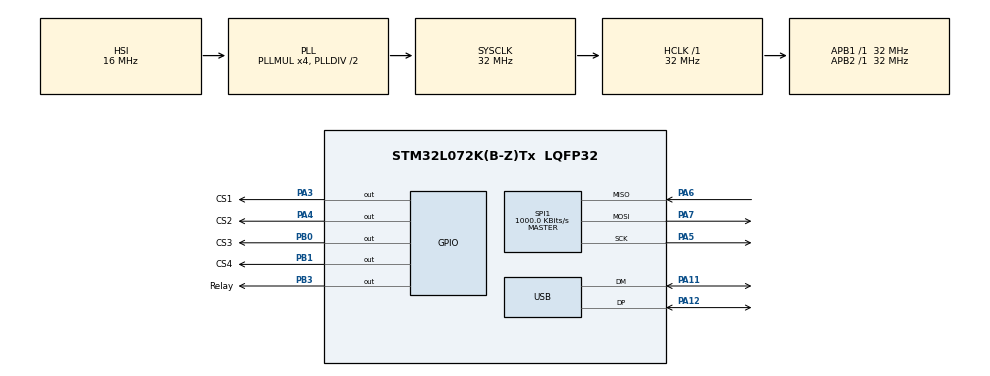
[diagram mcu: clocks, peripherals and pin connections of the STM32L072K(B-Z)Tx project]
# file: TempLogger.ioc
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Mcu.Family=STM32L0
Mcu.Name=STM32L072K(B-Z)Tx
Mcu.Package=LQFP32
NVIC.TIM2_IRQn=true\:0\:0\:false\:false\:true\:true\:true\:true
NVIC.USB_IRQn=true\:0\:0\:false\:false\:true\:false\:true\:true
PA11.Mode=Device
PA11.Signal=USB_DM
PA12.Mode=Device
PA12.Signal=USB_DP
PA13.Mode=Serial_Wire
PA13.Signal=SYS_SWDIO
PA14.Mode=Serial_Wire
PA14.Signal=SYS_SWCLK
PA3.GPIO_Label=CS1
PA3.PinState=GPIO_PIN_SET
PA3.Signal=GPIO_Output
PA4.GPIO_Label=CS2
PA4.PinState=GPIO_PIN_SET
PA4.Signal=GPIO_Output
PA5.Mode=Full_Duplex_Master
PA5.Signal=SPI1_SCK
PA6.Mode=Full_Duplex_Master
PA6.Signal=SPI1_MISO
PA7.Mode=Full_Duplex_Master
PA7.Signal=SPI1_MOSI
PB0.GPIO_Label=CS3
PB0.PinState=GPIO_PIN_SET
PB0.Signal=GPIO_Output
PB1.GPIO_Label=CS4
PB1.PinState=GPIO_PIN_SET
PB1.Signal=GPIO_Output
PB3.GPIO_Label=Relay
PB3.Signal=GPIO_Output
ProjectManager.HeapSize=0x200
ProjectManager.StackSize=0x400
ProjectManager.TargetToolchain=STM32CubeIDE
RCC.AHBFreq_Value=32000000
RCC.APB1Freq_Value=32000000
RCC.APB1TimFreq_Value=32000000
RCC.APB2Freq_Value=32000000
RCC.APB2TimFreq_Value=32000000
RCC.HCLKFreq_Value=32000000
RCC.HSI16_VALUE=16000000
RCC.HSI48MClockSelection=RCC_USBCLKSOURCE_HSI48
RCC.HSI48_VALUE=48000000
RCC.HSI_VALUE=16000000
RCC.LSE_VALUE=32768
RCC.MSI_VALUE=2097000
RCC.PLLMUL=RCC_PLLMUL_4
RCC.SYSCLKFreq_VALUE=32000000
RCC.SYSCLKSource=RCC_SYSCLKSOURCE_PLLCLK
RCC.VCOOutputFreq_Value=64000000
SPI1.BaudRatePrescaler=SPI_BAUDRATEPRESCALER_32
SPI1.CLKPolarity=SPI_POLARITY_LOW
SPI1.CalculateBaudRate=1000.0 KBits/s
SPI1.DataSize=SPI_DATASIZE_8BIT
SPI1.Direction=SPI_DIRECTION_2LINES
SPI1.Mode=SPI_MODE_MASTER
SPI1.VirtualType=VM_MASTER
TIM2.AutoReloadPreload=TIM_AUTORELOAD_PRELOAD_ENABLE
TIM2.Period=999
TIM2.Prescaler=32000
USB_DEVICE.CLASS_NAME_FS=CDC
USB_DEVICE.VirtualMode=Cdc
USB_DEVICE.VirtualModeFS=Cdc_FS
VP_TIM2_VS_ClockSourceINT.Mode=Internal
VP_USB_DEVICE_VS_USB_DEVICE_CDC_FS.Mode=CDC_FS
board=custom

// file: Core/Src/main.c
/* USER CODE BEGIN Header */
/**
  ******************************************************************************
  * @file           : main.c
  * @brief          : Main program body
  ******************************************************************************
  * @attention
  *
  * Copyright (c) 2025 STMicroelectronics.
  * All rights reserved.
  *
  * This software is licensed under terms that can be found in the LICENSE file
  * in the root directory of this software component.
  * If no LICENSE file comes with this software, it is provided AS-IS.
  *
  ******************************************************************************
  */
/* USER CODE END Header */
#include "main.h"
#include "usb_device.h"

/* USER CODE BEGIN Includes */
//#define max31855
#include "string.h"
#include "usbd_cdc_if.h"
#include "stdbool.h"
#include <string.h> // For memchr function

#ifdef max31855
  #include "max31855.h"
#else
  #include "max6675.h"
#endif
/* USER CODE END Includes */

SPI_HandleTypeDef hspi1;

TIM_HandleTypeDef htim2;

/* USER CODE BEGIN PV */
extern uint8_t UserRxBufferFS[APP_RX_DATA_SIZE];
extern uint8_t UserTxBufferFS[APP_TX_DATA_SIZE];
bool is_new_data_ready;
uint32_t new_data_length;
const char InstID[]="Askob temperature logger";
/* USER CODE END PV */

void SystemClock_Config(void);
static void MX_GPIO_Init(void);
static void MX_SPI1_Init(void);
static void MX_TIM2_Init(void);

/* USER CODE BEGIN 0 */
void USB_RX(uint8_t* Buf, uint32_t* Len) {
//data from USB
	memcpy((int8_t *) &UserRxBufferFS[0],(int8_t *) Buf, *Len);
	new_data_length +=*Len;
	if (memchr(Buf, '\r', *Len))  {
		SCPI_Input(&scpi_context,(char *) UserRxBufferFS, new_data_length);
		new_data_length=0;
	}
}

float GetTemp(int sensor) {
#ifdef max31855
  return max31855_readTemp(sensor);
#else
  return max6675_readTemp(sensor);
#endif
}

void send_msg(uint8_t *msg,uint8_t len) {
	  CDC_Transmit_FS(msg, len);
}
/* USER CODE END 0 */

int main(void)
{

  /* MCU Configuration--------------------------------------------------------*/

  /* Reset of all peripherals, Initializes the Flash interface and the Systick. */
  HAL_Init();

  /* Configure the system clock */
  SystemClock_Config();

  /* Initialize all configured peripherals */
  MX_GPIO_Init();
  MX_SPI1_Init();
  MX_TIM2_Init();
  MX_USB_DEVICE_Init();
  /* USER CODE BEGIN 2 */
#ifdef max31855
  max31855_init();
#else
  max6675_init();
#endif
  RegisterCallback(USB_RX);
  SCPI_Init(&scpi_context,
      scpi_commands,
      &scpi_interface,
      scpi_units_def,
      SCPI_IDN1, SCPI_IDN2, SCPI_IDN3, SCPI_IDN4,
      scpi_input_buffer, SCPI_INPUT_BUFFER_LENGTH,
      scpi_error_queue_data, SCPI_ERROR_QUEUE_SIZE);
  send_msg((uint8_t *) &InstID[0], sizeof(InstID));
  /* USER CODE END 2 */

  /* Infinite loop */
  while (1)
  {

    /* USER CODE BEGIN 3 */
	    if (is_new_data_ready) {

	      is_new_data_ready = 0;
	    }
  }
  /* USER CODE END 3 */
}

void SystemClock_Config(void)
{
  RCC_OscInitTypeDef RCC_OscInitStruct = {0};
  RCC_ClkInitTypeDef RCC_ClkInitStruct = {0};
  RCC_PeriphCLKInitTypeDef PeriphClkInit = {0};

  /** Configure the main internal regulator output voltage
  */
  __HAL_PWR_VOLTAGESCALING_CONFIG(PWR_REGULATOR_VOLTAGE_SCALE1);

  /** Initializes the RCC Oscillators according to the specified parameters
  * in the RCC_OscInitTypeDef structure.
  */
  RCC_OscInitStruct.OscillatorType = RCC_OSCILLATORTYPE_HSI|RCC_OSCILLATORTYPE_HSI48;
  RCC_OscInitStruct.HSIState = RCC_HSI_ON;
  RCC_OscInitStruct.HSICalibrationValue = RCC_HSICALIBRATION_DEFAULT;
  RCC_OscInitStruct.HSI48State = RCC_HSI48_ON;
  RCC_OscInitStruct.PLL.PLLState = RCC_PLL_ON;
  RCC_OscInitStruct.PLL.PLLSource = RCC_PLLSOURCE_HSI;
  RCC_OscInitStruct.PLL.PLLMUL = RCC_PLLMUL_4;
  RCC_OscInitStruct.PLL.PLLDIV = RCC_PLLDIV_2;
  if (HAL_RCC_OscConfig(&RCC_OscInitStruct) != HAL_OK)
  {
    Error_Handler();
  }

  /** Initializes the CPU, AHB and APB buses clocks
  */
  RCC_ClkInitStruct.ClockType = RCC_CLOCKTYPE_HCLK|RCC_CLOCKTYPE_SYSCLK
                              |RCC_CLOCKTYPE_PCLK1|RCC_CLOCKTYPE_PCLK2;
  RCC_ClkInitStruct.SYSCLKSource = RCC_SYSCLKSOURCE_PLLCLK;
  RCC_ClkInitStruct.AHBCLKDivider = RCC_SYSCLK_DIV1;
  RCC_ClkInitStruct.APB1CLKDivider = RCC_HCLK_DIV1;
  RCC_ClkInitStruct.APB2CLKDivider = RCC_HCLK_DIV1;

  if (HAL_RCC_ClockConfig(&RCC_ClkInitStruct, FLASH_LATENCY_1) != HAL_OK)
  {
    Error_Handler();
  }
  PeriphClkInit.PeriphClockSelection = RCC_PERIPHCLK_USB;
  PeriphClkInit.UsbClockSelection = RCC_USBCLKSOURCE_HSI48;
  if (HAL_RCCEx_PeriphCLKConfig(&PeriphClkInit) != HAL_OK)
  {
    Error_Handler();
  }
}

static void MX_SPI1_Init(void)
{

  /* SPI1 parameter configuration*/
  hspi1.Instance = SPI1;
  hspi1.Init.Mode = SPI_MODE_MASTER;
  hspi1.Init.Direction = SPI_DIRECTION_2LINES;
  hspi1.Init.DataSize = SPI_DATASIZE_8BIT;
  hspi1.Init.CLKPolarity = SPI_POLARITY_LOW;
  hspi1.Init.CLKPhase = SPI_PHASE_1EDGE;
  hspi1.Init.NSS = SPI_NSS_SOFT;
  hspi1.Init.BaudRatePrescaler = SPI_BAUDRATEPRESCALER_32;
  hspi1.Init.FirstBit = SPI_FIRSTBIT_MSB;
  hspi1.Init.TIMode = SPI_TIMODE_DISABLE;
  hspi1.Init.CRCCalculation = SPI_CRCCALCULATION_DISABLE;
  hspi1.Init.CRCPolynomial = 7;
  if (HAL_SPI_Init(&hspi1) != HAL_OK)
  {
    Error_Handler();
  }

}

static void MX_TIM2_Init(void)
{

  TIM_ClockConfigTypeDef sClockSourceConfig = {0};
  TIM_MasterConfigTypeDef sMasterConfig = {0};

  htim2.Instance = TIM2;
  htim2.Init.Prescaler = 32000;
  htim2.Init.CounterMode = TIM_COUNTERMODE_UP;
  htim2.Init.Period = 999;
  htim2.Init.ClockDivision = TIM_CLOCKDIVISION_DIV1;
  htim2.Init.AutoReloadPreload = TIM_AUTORELOAD_PRELOAD_ENABLE;
  if (HAL_TIM_Base_Init(&htim2) != HAL_OK)
  {
    Error_Handler();
  }
  sClockSourceConfig.ClockSource = TIM_CLOCKSOURCE_INTERNAL;
  if (HAL_TIM_ConfigClockSource(&htim2, &sClockSourceConfig) != HAL_OK)
  {
    Error_Handler();
  }
  sMasterConfig.MasterOutputTrigger = TIM_TRGO_RESET;
  sMasterConfig.MasterSlaveMode = TIM_MASTERSLAVEMODE_DISABLE;
  if (HAL_TIMEx_MasterConfigSynchronization(&htim2, &sMasterConfig) != HAL_OK)
  {
    Error_Handler();
  }

}

static void MX_GPIO_Init(void)
{
  GPIO_InitTypeDef GPIO_InitStruct = {0};

  /* GPIO Ports Clock Enable */
  __HAL_RCC_GPIOA_CLK_ENABLE();
  __HAL_RCC_GPIOB_CLK_ENABLE();

  /*Configure GPIO pin Output Level */
  HAL_GPIO_WritePin(GPIOA, CS1_Pin|CS2_Pin, GPIO_PIN_SET);

  /*Configure GPIO pin Output Level */
  HAL_GPIO_WritePin(GPIOB, CS3_Pin|CS4_Pin, GPIO_PIN_SET);

  /*Configure GPIO pin Output Level */
  HAL_GPIO_WritePin(Relay_GPIO_Port, Relay_Pin, GPIO_PIN_RESET);

  /*Configure GPIO pins : CS1_Pin CS2_Pin */
  GPIO_InitStruct.Pin = CS1_Pin|CS2_Pin;
  GPIO_InitStruct.Mode = GPIO_MODE_OUTPUT_PP;
  GPIO_InitStruct.Pull = GPIO_NOPULL;
  GPIO_InitStruct.Speed = GPIO_SPEED_FREQ_LOW;
  HAL_GPIO_Init(GPIOA, &GPIO_InitStruct);

  /*Configure GPIO pins : CS3_Pin CS4_Pin Relay_Pin */
  GPIO_InitStruct.Pin = CS3_Pin|CS4_Pin|Relay_Pin;
  GPIO_InitStruct.Mode = GPIO_MODE_OUTPUT_PP;
  GPIO_InitStruct.Pull = GPIO_NOPULL;
  GPIO_InitStruct.Speed = GPIO_SPEED_FREQ_LOW;
  HAL_GPIO_Init(GPIOB, &GPIO_InitStruct);

}

void Error_Handler(void)
{
  __disable_irq();
  while (1)
  {
  }
}
